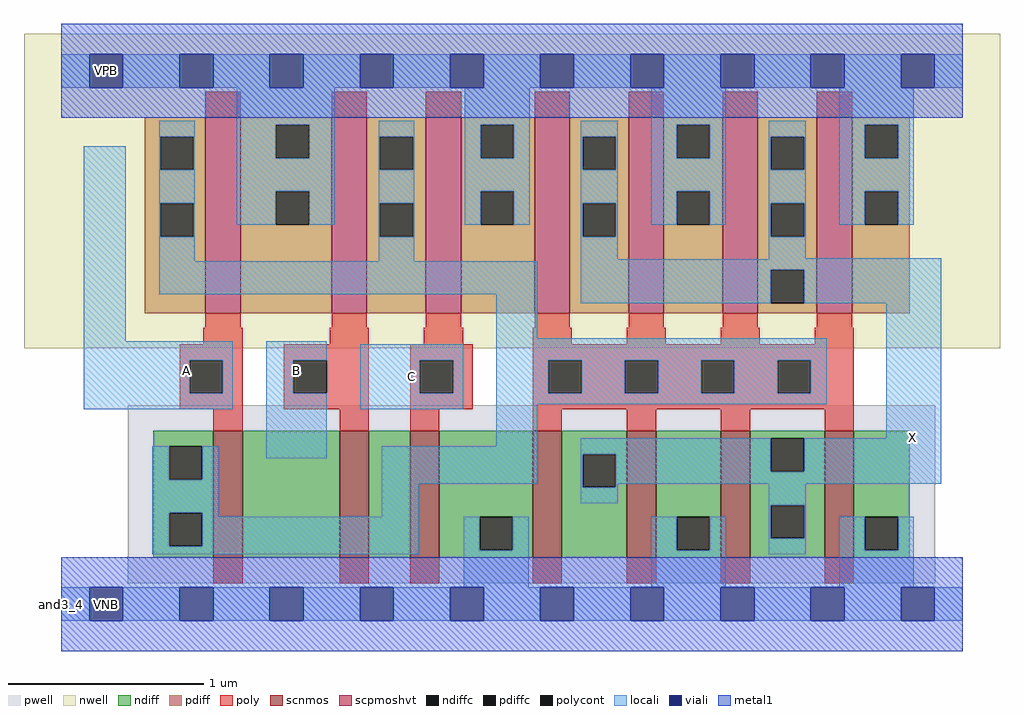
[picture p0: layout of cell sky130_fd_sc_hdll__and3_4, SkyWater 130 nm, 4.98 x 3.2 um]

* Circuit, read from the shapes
.subckt sky130_fd_sc_hdll__and3_4 A B C VGND VNB VPB VPWR X
XM1 n1 A n2 VNB sky130_fd_pr__nfet_01v8 w=0.65 l=0.15
XM2 n3 B n1 VNB sky130_fd_pr__nfet_01v8 w=0.65 l=0.15
XM3 VGND C n3 VNB sky130_fd_pr__nfet_01v8 w=0.65 l=0.15
XM4 X n2 VGND VNB sky130_fd_pr__nfet_01v8 w=0.65 l=0.15 m=4
XM5 VPWR A n2 VPB sky130_fd_pr__pfet_01v8_hvt w=1 l=0.18
XM6 n2 B VPWR VPB sky130_fd_pr__pfet_01v8_hvt w=1 l=0.18
XM7 VPWR C n2 VPB sky130_fd_pr__pfet_01v8_hvt w=1 l=0.18
XM8 X n2 VPWR VPB sky130_fd_pr__pfet_01v8_hvt w=1 l=0.18 m=4
.ends

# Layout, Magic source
magic
tech sky130A
magscale 1 2
<< nwell >>
rect -38 261 958 582
<< pwell >>
rect 68 21 892 203
rect 29 -17 63 17
<< scnmos >>
rect 155 47 185 177
rect 284 47 314 177
rect 356 47 386 177
rect 481 47 511 177
rect 577 47 607 177
rect 673 47 703 177
rect 779 47 809 177
<< scpmoshvt >>
rect 147 297 183 497
rect 276 297 312 497
rect 372 297 408 497
rect 483 297 519 497
rect 579 297 615 497
rect 675 297 711 497
rect 771 297 807 497
<< ndiff >>
rect 94 161 155 177
rect 94 127 110 161
rect 144 127 155 161
rect 94 93 155 127
rect 94 59 110 93
rect 144 59 155 93
rect 94 47 155 59
rect 185 47 284 177
rect 314 47 356 177
rect 386 89 481 177
rect 386 55 427 89
rect 461 55 481 89
rect 386 47 481 55
rect 511 153 577 177
rect 511 119 532 153
rect 566 119 577 153
rect 511 47 577 119
rect 607 89 673 177
rect 607 55 628 89
rect 662 55 673 89
rect 607 47 673 55
rect 703 169 779 177
rect 703 135 724 169
rect 758 135 779 169
rect 703 101 779 135
rect 703 67 724 101
rect 758 67 779 101
rect 703 47 779 67
rect 809 89 866 177
rect 809 55 820 89
rect 854 55 866 89
rect 809 47 866 55
<< pdiff >>
rect 85 477 147 497
rect 85 443 101 477
rect 135 443 147 477
rect 85 409 147 443
rect 85 375 101 409
rect 135 375 147 409
rect 85 297 147 375
rect 183 489 276 497
rect 183 455 219 489
rect 253 455 276 489
rect 183 421 276 455
rect 183 387 219 421
rect 253 387 276 421
rect 183 297 276 387
rect 312 477 372 497
rect 312 443 325 477
rect 359 443 372 477
rect 312 409 372 443
rect 312 375 325 409
rect 359 375 372 409
rect 312 297 372 375
rect 408 489 483 497
rect 408 455 428 489
rect 462 455 483 489
rect 408 421 483 455
rect 408 387 428 421
rect 462 387 483 421
rect 408 297 483 387
rect 519 477 579 497
rect 519 443 532 477
rect 566 443 579 477
rect 519 409 579 443
rect 519 375 532 409
rect 566 375 579 409
rect 519 297 579 375
rect 615 489 675 497
rect 615 455 628 489
rect 662 455 675 489
rect 615 421 675 455
rect 615 387 628 421
rect 662 387 675 421
rect 615 297 675 387
rect 711 477 771 497
rect 711 443 724 477
rect 758 443 771 477
rect 711 409 771 443
rect 711 375 724 409
rect 758 375 771 409
rect 711 341 771 375
rect 711 307 724 341
rect 758 307 771 341
rect 711 297 771 307
rect 807 489 866 497
rect 807 455 820 489
rect 854 455 866 489
rect 807 421 866 455
rect 807 387 820 421
rect 854 387 866 421
rect 807 297 866 387
<< ndiffc >>
rect 110 127 144 161
rect 110 59 144 93
rect 427 55 461 89
rect 532 119 566 153
rect 628 55 662 89
rect 724 135 758 169
rect 724 67 758 101
rect 820 55 854 89
<< pdiffc >>
rect 101 443 135 477
rect 101 375 135 409
rect 219 455 253 489
rect 219 387 253 421
rect 325 443 359 477
rect 325 375 359 409
rect 428 455 462 489
rect 428 387 462 421
rect 532 443 566 477
rect 532 375 566 409
rect 628 455 662 489
rect 628 387 662 421
rect 724 443 758 477
rect 724 375 758 409
rect 724 307 758 341
rect 820 455 854 489
rect 820 387 854 421
<< poly >>
rect 147 497 183 523
rect 276 497 312 523
rect 372 497 408 523
rect 483 497 519 523
rect 579 497 615 523
rect 675 497 711 523
rect 771 497 807 523
rect 147 282 183 297
rect 276 282 312 297
rect 372 282 408 297
rect 483 282 519 297
rect 579 282 615 297
rect 675 282 711 297
rect 771 282 807 297
rect 145 265 185 282
rect 274 265 314 282
rect 370 265 410 282
rect 481 265 521 282
rect 577 265 617 282
rect 673 265 713 282
rect 769 265 809 282
rect 121 249 185 265
rect 121 215 131 249
rect 165 215 185 249
rect 121 199 185 215
rect 227 249 314 265
rect 227 215 237 249
rect 271 215 314 249
rect 227 199 314 215
rect 155 177 185 199
rect 284 177 314 199
rect 356 249 420 265
rect 356 215 366 249
rect 400 215 420 249
rect 356 199 420 215
rect 481 249 809 265
rect 481 215 497 249
rect 531 215 575 249
rect 609 215 653 249
rect 687 215 731 249
rect 765 215 809 249
rect 481 199 809 215
rect 356 177 386 199
rect 481 177 511 199
rect 577 177 607 199
rect 673 177 703 199
rect 779 177 809 199
rect 155 21 185 47
rect 284 21 314 47
rect 356 21 386 47
rect 481 21 511 47
rect 577 21 607 47
rect 673 21 703 47
rect 779 21 809 47
<< polycont >>
rect 131 215 165 249
rect 237 215 271 249
rect 366 215 400 249
rect 497 215 531 249
rect 575 215 609 249
rect 653 215 687 249
rect 731 215 765 249
<< locali >>
rect 0 527 29 561
rect 63 527 121 561
rect 155 527 213 561
rect 247 527 305 561
rect 339 527 397 561
rect 431 527 489 561
rect 523 527 581 561
rect 615 527 673 561
rect 707 527 765 561
rect 799 527 857 561
rect 891 527 920 561
rect 100 477 136 493
rect 23 268 66 467
rect 100 443 101 477
rect 135 443 136 477
rect 100 409 136 443
rect 100 375 101 409
rect 135 375 136 409
rect 179 489 279 527
rect 179 455 219 489
rect 253 455 279 489
rect 179 421 279 455
rect 179 387 219 421
rect 253 387 279 421
rect 324 477 360 493
rect 324 443 325 477
rect 359 443 360 477
rect 324 409 360 443
rect 100 350 136 375
rect 324 375 325 409
rect 359 375 360 409
rect 412 489 478 527
rect 412 455 428 489
rect 462 455 478 489
rect 412 421 478 455
rect 412 387 428 421
rect 462 387 478 421
rect 530 477 568 493
rect 530 443 532 477
rect 566 443 568 477
rect 530 409 568 443
rect 324 350 360 375
rect 530 375 532 409
rect 566 375 568 409
rect 602 489 678 527
rect 602 455 628 489
rect 662 455 678 489
rect 602 421 678 455
rect 602 387 628 421
rect 662 387 678 421
rect 722 477 760 493
rect 722 443 724 477
rect 758 443 760 477
rect 722 409 760 443
rect 530 352 568 375
rect 722 375 724 409
rect 758 375 760 409
rect 794 489 870 527
rect 794 455 820 489
rect 854 455 870 489
rect 794 421 870 455
rect 794 387 820 421
rect 854 387 870 421
rect 722 353 760 375
rect 722 352 898 353
rect 100 316 486 350
rect 444 271 486 316
rect 530 341 898 352
rect 530 307 724 341
rect 758 307 898 341
rect 23 249 175 268
rect 23 215 131 249
rect 165 215 175 249
rect 23 199 175 215
rect 209 249 271 268
rect 209 215 237 249
rect 93 127 110 161
rect 144 127 160 161
rect 209 149 271 215
rect 305 249 410 265
rect 305 215 366 249
rect 400 215 410 249
rect 305 199 410 215
rect 444 249 781 271
rect 444 215 497 249
rect 531 215 575 249
rect 609 215 653 249
rect 687 215 731 249
rect 765 215 781 249
rect 444 204 781 215
rect 444 161 486 204
rect 842 169 898 307
rect 93 93 160 127
rect 93 59 110 93
rect 144 89 160 93
rect 327 123 486 161
rect 530 153 724 169
rect 327 89 365 123
rect 530 119 532 153
rect 566 135 724 153
rect 758 135 898 169
rect 566 123 898 135
rect 566 119 568 123
rect 530 103 568 119
rect 722 101 760 123
rect 144 59 365 89
rect 93 51 365 59
rect 411 55 427 89
rect 461 55 477 89
rect 411 17 477 55
rect 602 55 628 89
rect 662 55 678 89
rect 602 17 678 55
rect 722 67 724 101
rect 758 67 760 101
rect 722 51 760 67
rect 794 55 820 89
rect 854 55 870 89
rect 794 17 870 55
rect 0 -17 29 17
rect 63 -17 121 17
rect 155 -17 213 17
rect 247 -17 305 17
rect 339 -17 397 17
rect 431 -17 489 17
rect 523 -17 581 17
rect 615 -17 673 17
rect 707 -17 765 17
rect 799 -17 857 17
rect 891 -17 920 17
<< viali >>
rect 29 527 63 561
rect 121 527 155 561
rect 213 527 247 561
rect 305 527 339 561
rect 397 527 431 561
rect 489 527 523 561
rect 581 527 615 561
rect 673 527 707 561
rect 765 527 799 561
rect 857 527 891 561
rect 29 -17 63 17
rect 121 -17 155 17
rect 213 -17 247 17
rect 305 -17 339 17
rect 397 -17 431 17
rect 489 -17 523 17
rect 581 -17 615 17
rect 673 -17 707 17
rect 765 -17 799 17
rect 857 -17 891 17
<< metal1 >>
rect 0 561 920 592
rect 0 527 29 561
rect 63 527 121 561
rect 155 527 213 561
rect 247 527 305 561
rect 339 527 397 561
rect 431 527 489 561
rect 523 527 581 561
rect 615 527 673 561
rect 707 527 765 561
rect 799 527 857 561
rect 891 527 920 561
rect 0 496 920 527
rect 0 17 920 48
rect 0 -17 29 17
rect 63 -17 121 17
rect 155 -17 213 17
rect 247 -17 305 17
rect 339 -17 397 17
rect 431 -17 489 17
rect 523 -17 581 17
rect 615 -17 673 17
rect 707 -17 765 17
rect 799 -17 857 17
rect 891 -17 920 17
rect 0 -48 920 -17
<< labels >>
flabel locali s 111 221 145 255 0 FreeSans 340 0 0 0 A
port 1 nsew signal input
flabel locali s 223 221 257 255 0 FreeSans 340 0 0 0 B
port 2 nsew signal input
flabel locali s 305 199 410 265 0 FreeSans 340 0 0 0 C
port 3 nsew signal input
flabel locali s 852 153 886 187 0 FreeSans 340 0 0 0 X
port 8 nsew signal output
flabel pwell s 29 -17 63 17 0 FreeSans 200 0 0 0 VNB
port 5 nsew ground bidirectional
flabel nwell s 29 527 63 561 0 FreeSans 200 0 0 0 VPB
port 6 nsew power bidirectional
flabel metal1 s 29 -17 63 17 0 FreeSans 200 0 0 0 VGND
port 4 nsew ground bidirectional
flabel metal1 s 29 527 63 561 0 FreeSans 200 0 0 0 VPWR
port 7 nsew power bidirectional
rlabel comment s 0 0 0 0 4 and3_4
<< properties >>
string LEFsite unithd
string LEFclass CORE
string FIXED_BBOX 0 0 920 544
string GDS_FILE $PDKPATH/libs.ref/sky130_fd_sc_hdll/gds/sky130_fd_sc_hdll.gds
string LEFsymmetry X Y R90
string GDS_END 1805324
string GDS_START 1798120
string LEFproperties maskLayoutSubType "abstract" prCellType "standard" originalViewName "layout"
<< end >>
